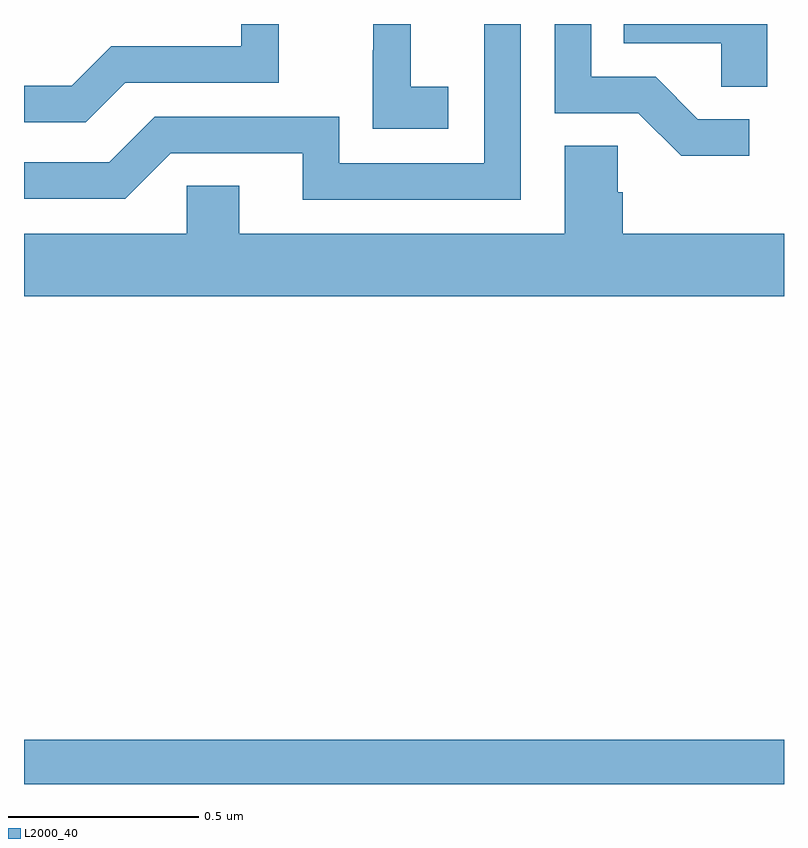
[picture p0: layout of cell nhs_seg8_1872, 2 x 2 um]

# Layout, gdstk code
import gdstk
lib = gdstk.Library(unit=1e-6, precision=1e-09)
def R(c, l, rs):  # rectangles x0, y0, x1, y1
    for r in rs: c.add(gdstk.rectangle(r[:2], r[2:], *l))
def P(c, l, *ps):  # polygons
    for p in ps: c.add(gdstk.Polygon(p, *l))
L2000_40 = (2000, 40)

nhs_seg8_1872 = lib.new_cell('nhs_seg8_1872')
R(nhs_seg8_1872, L2000_40, [(136,1097.9,138,1098.016)])
P(nhs_seg8_1872, L2000_40, [(137.116,1099.735),(137.018,1099.735),(137.018,1099.9),(136.919,1099.9),(136.919,1099.831),(136.918,1099.831),(136.918,1099.625),(137.116,1099.625)],
  [(136.267,1099.746),(136.671,1099.746),(136.671,1099.9),(136.572,1099.9),(136.572,1099.842),(136.23,1099.842),(136.126,1099.738),(136,1099.738),(136,1099.641),(136.162,1099.641)],
  [(137.307,1099.9),(137.211,1099.9),(137.211,1099.533),(136.83,1099.533),(136.83,1099.656),(136.344,1099.656),(136.224,1099.536),(136,1099.536),(136,1099.44),(136.266,1099.44),(136.386,1099.56),(136.733,1099.56),(136.733,1099.437),(137.307,1099.437)],
  [(137.908,1099.65),(137.773,1099.65),(137.662,1099.761),(137.493,1099.761),(137.493,1099.9),(137.397,1099.9),(137.397,1099.665),(137.616,1099.665),(137.729,1099.553),(137.908,1099.553)],
  [(137.956,1099.9),(137.578,1099.9),(137.578,1099.85),(137.835,1099.85),(137.835,1099.735),(137.956,1099.735)],
  [(138,1099.348),(137.576,1099.348),(137.576,1099.457),(137.562,1099.457),(137.562,1099.58),(137.423,1099.58),(137.423,1099.348),(136.567,1099.348),(136.567,1099.475),(136.428,1099.475),(136.428,1099.348),(136,1099.348),(136,1099.184),(138,1099.184)])

lib.write_gds('nhs_seg8_1872.gds')
